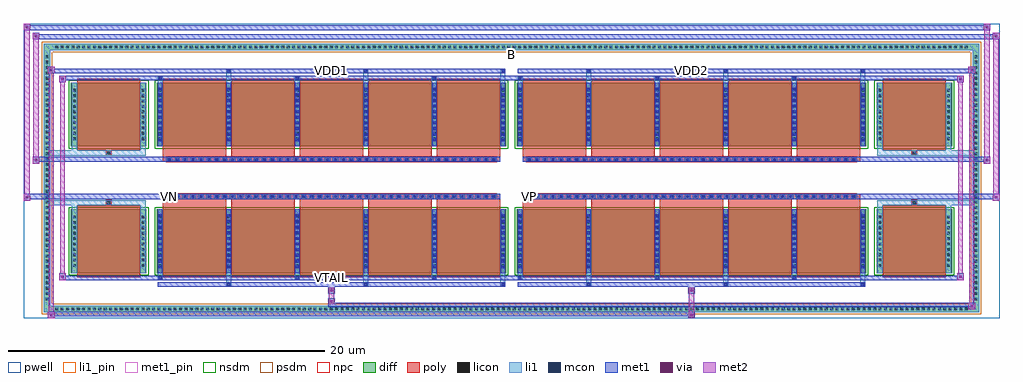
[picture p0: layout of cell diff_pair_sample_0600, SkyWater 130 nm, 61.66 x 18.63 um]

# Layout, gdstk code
import gdstk
lib = gdstk.Library(unit=1e-6, precision=5e-09)
def R(c, l, rs):  # rectangles x0, y0, x1, y1
    for r in rs: c.add(gdstk.rectangle(r[:2], r[2:], *l))
def A(c, l, x, y, w, h, nx, ny, dx, dy):  # array of equal rectangles
    R(c, l, [(x+i*dx, y+j*dy, x+i*dx+w, y+j*dy+h) for i in range(nx) for j in range(ny)])
def P(c, l, *ps):  # polygons
    for p in ps: c.add(gdstk.Polygon(p, *l))
pwell = (64, 44)
diff = (65, 20)
poly = (66, 20)
licon = (66, 44)
li1_pin = (67, 16)
li1 = (67, 20)
mcon = (67, 44)
met1_pin = (68, 16)
met1 = (68, 20)
via = (68, 44)
met2 = (69, 20)
nsdm = (93, 44)
psdm = (94, 20)
npc = (95, 20)

diff_pair_sample_0600 = lib.new_cell('diff_pair_sample_0600')
R(diff_pair_sample_0600, pwell, [(-30.83,-8.88,30.83,9.75), (-28.15,-7.07,-0.01,-0.805), (0.01,-7.07,28.15,-0.805), (-28.15,0.805,-0.01,7.07), (0.01,0.805,28.15,7.07)])
A(diff_pair_sample_0600, diff, -28.935, -8.48, 0.41, 0.41, 170, 2, 0.34, 16.55)
A(diff_pair_sample_0600, diff, -29.56, -7.855, 0.41, 0.41, 1, 46, 0, 0.34)
A(diff_pair_sample_0600, diff, 29.15, -7.855, 0.41, 0.41, 1, 46, 0, 0.34)
R(diff_pair_sample_0600, diff, [(-28.935,-8.48,28.935,-8.07), (-29.56,-7.855,-29.15,7.855), (29.15,-7.855,29.56,7.855), (-27.84,-6.025,-23.06,-1.985), (-22.42,-6.025,-0.32,-1.985), (0.32,-6.025,22.42,-1.985), (23.06,-6.025,27.84,-1.985), (-27.84,1.985,-23.06,6.025), (-22.42,1.985,-0.32,6.025), (0.32,1.985,22.42,6.025), (23.06,1.985,27.84,6.025), (-28.935,8.07,28.935,8.48)])
P(diff_pair_sample_0600, diff, [(29.56,8.48),(-29.56,8.48),(-29.56,-8.07),(-29.15,-8.07),(-29.15,8.07),(29.15,8.07),(29.15,-8.07),(-29.15,-8.07),(-29.56,-8.07),(-29.56,-8.48),(29.56,-8.48)])
A(diff_pair_sample_0600, poly, -22.03, -6.275, 4, 4.54, 5, 2, 4.33, 8.01)
A(diff_pair_sample_0600, poly, 0.71, -6.275, 4, 4.54, 5, 2, 4.33, 8.01)
A(diff_pair_sample_0600, poly, -22.03, -1.735, 4, 0.4, 5, 2, 4.33, 3.07)
A(diff_pair_sample_0600, poly, 0.71, -1.735, 4, 0.4, 5, 2, 4.33, 3.07)
A(diff_pair_sample_0600, poly, -21.785, -1.335, 0.33, 0.33, 42, 2, 0.5, 2.34)
A(diff_pair_sample_0600, poly, 0.955, -1.335, 0.33, 0.33, 42, 2, 0.5, 2.34)
R(diff_pair_sample_0600, poly, [(-27.45,-6.275,-23.45,-1.735), (23.45,-6.275,27.45,-1.735), (-25.615,-1.735,-25.285,-1.405), (-25.615,-1.735,-25.285,-1.405), (25.285,-1.735,25.615,-1.405), (25.285,-1.735,25.615,-1.405), (-22.03,-1.335,-0.71,-1.005), (0.71,-1.335,22.03,-1.005), (-22.03,1.005,-0.71,1.335), (0.71,1.005,22.03,1.335), (-25.615,1.405,-25.285,1.735), (-25.615,1.405,-25.285,1.735), (25.285,1.405,25.615,1.735), (25.285,1.405,25.615,1.735), (-27.45,1.735,-23.45,6.275), (23.45,1.735,27.45,6.275)])
A(diff_pair_sample_0600, licon, -28.815, -8.36, 0.17, 0.17, 170, 2, 0.34, 16.55)
A(diff_pair_sample_0600, licon, -29.44, -7.735, 0.17, 0.17, 1, 46, 0, 0.34)
A(diff_pair_sample_0600, licon, 29.27, -7.735, 0.17, 0.17, 1, 46, 0, 0.34)
A(diff_pair_sample_0600, licon, -27.7, -5.62, 0.17, 0.17, 1, 10, 0, 0.34)
A(diff_pair_sample_0600, licon, -23.37, -5.62, 0.17, 0.17, 1, 10, 0, 0.34)
A(diff_pair_sample_0600, licon, -22.28, -5.62, 0.17, 0.17, 6, 10, 4.33, 0.34)
A(diff_pair_sample_0600, licon, 0.46, -5.62, 0.17, 0.17, 6, 10, 4.33, 0.34)
A(diff_pair_sample_0600, licon, 23.2, -5.62, 0.17, 0.17, 1, 10, 0, 0.34)
A(diff_pair_sample_0600, licon, 27.53, -5.62, 0.17, 0.17, 1, 10, 0, 0.34)
A(diff_pair_sample_0600, licon, -21.705, -1.255, 0.17, 0.17, 42, 2, 0.5, 2.34)
A(diff_pair_sample_0600, licon, 1.035, -1.255, 0.17, 0.17, 42, 2, 0.5, 2.34)
A(diff_pair_sample_0600, licon, -27.7, 2.39, 0.17, 0.17, 1, 10, 0, 0.34)
A(diff_pair_sample_0600, licon, -23.37, 2.39, 0.17, 0.17, 1, 10, 0, 0.34)
A(diff_pair_sample_0600, licon, -22.28, 2.39, 0.17, 0.17, 6, 10, 4.33, 0.34)
A(diff_pair_sample_0600, licon, 0.46, 2.39, 0.17, 0.17, 6, 10, 4.33, 0.34)
A(diff_pair_sample_0600, licon, 23.2, 2.39, 0.17, 0.17, 1, 10, 0, 0.34)
A(diff_pair_sample_0600, licon, 27.53, 2.39, 0.17, 0.17, 1, 10, 0, 0.34)
R(diff_pair_sample_0600, licon, [(-25.535,-1.655,-25.365,-1.485), (25.365,-1.655,25.535,-1.485), (-25.535,1.485,-25.365,1.655), (25.365,1.485,25.535,1.655)])
R(diff_pair_sample_0600, li1_pin, [(-0.25,7.57,0.25,8.07)])
A(diff_pair_sample_0600, li1, -28.895, -8.44, 0.33, 0.33, 170, 2, 0.34, 16.55)
A(diff_pair_sample_0600, li1, -29.52, -7.815, 0.33, 0.33, 1, 46, 0, 0.34)
A(diff_pair_sample_0600, li1, 29.19, -7.815, 0.33, 0.33, 1, 46, 0, 0.34)
A(diff_pair_sample_0600, li1, -18.03, -6.83, 0.33, 0.805, 3, 2, 8.66, 12.855)
A(diff_pair_sample_0600, li1, -17.95, -6.83, 0.17, 0.17, 3, 2, 8.66, 13.49)
A(diff_pair_sample_0600, li1, 4.71, -6.83, 0.33, 0.805, 3, 2, 8.66, 12.855)
A(diff_pair_sample_0600, li1, 4.79, -6.83, 0.17, 0.17, 3, 2, 8.66, 13.49)
A(diff_pair_sample_0600, li1, -22.36, -6.4, 0.33, 0.375, 3, 2, 8.66, 12.425)
A(diff_pair_sample_0600, li1, -22.28, -6.4, 0.17, 0.17, 3, 2, 8.66, 12.63)
A(diff_pair_sample_0600, li1, 0.38, -6.4, 0.33, 0.375, 3, 2, 8.66, 12.425)
A(diff_pair_sample_0600, li1, 0.46, -6.4, 0.17, 0.17, 3, 2, 8.66, 12.63)
A(diff_pair_sample_0600, li1, -22.36, -6.025, 0.33, 4.04, 6, 2, 4.33, 8.01)
A(diff_pair_sample_0600, li1, 0.38, -6.025, 0.33, 4.04, 6, 2, 4.33, 8.01)
A(diff_pair_sample_0600, li1, -22.28, -5.71, 0.17, 0.17, 6, 10, 4.33, 0.36)
A(diff_pair_sample_0600, li1, -22.28, -5.71, 0.17, 3.41, 6, 2, 4.33, 8.01)
A(diff_pair_sample_0600, li1, 0.46, -5.71, 0.17, 0.17, 6, 10, 4.33, 0.36)
A(diff_pair_sample_0600, li1, 0.46, -5.71, 0.17, 3.41, 6, 2, 4.33, 8.01)
A(diff_pair_sample_0600, li1, -27.78, -5.7, 0.33, 0.33, 1, 10, 0, 0.34)
A(diff_pair_sample_0600, li1, -23.45, -5.7, 0.33, 0.33, 1, 10, 0, 0.34)
A(diff_pair_sample_0600, li1, -22.36, -5.7, 0.33, 0.33, 6, 10, 4.33, 0.34)
A(diff_pair_sample_0600, li1, 0.38, -5.7, 0.33, 0.33, 6, 10, 4.33, 0.34)
A(diff_pair_sample_0600, li1, 23.12, -5.7, 0.33, 0.33, 1, 10, 0, 0.34)
A(diff_pair_sample_0600, li1, 27.45, -5.7, 0.33, 0.33, 1, 10, 0, 0.34)
A(diff_pair_sample_0600, li1, -21.785, -1.335, 0.33, 0.33, 42, 2, 0.5, 2.34)
A(diff_pair_sample_0600, li1, 0.955, -1.335, 0.33, 0.33, 42, 2, 0.5, 2.34)
A(diff_pair_sample_0600, li1, -22.28, 2.3, 0.17, 0.17, 6, 10, 4.33, 0.36)
A(diff_pair_sample_0600, li1, 0.46, 2.3, 0.17, 0.17, 6, 10, 4.33, 0.36)
A(diff_pair_sample_0600, li1, -27.78, 2.31, 0.33, 0.33, 1, 10, 0, 0.34)
A(diff_pair_sample_0600, li1, -23.45, 2.31, 0.33, 0.33, 1, 10, 0, 0.34)
A(diff_pair_sample_0600, li1, -22.36, 2.31, 0.33, 0.33, 6, 10, 4.33, 0.34)
A(diff_pair_sample_0600, li1, 0.38, 2.31, 0.33, 0.33, 6, 10, 4.33, 0.34)
A(diff_pair_sample_0600, li1, 23.12, 2.31, 0.33, 0.33, 1, 10, 0, 0.34)
A(diff_pair_sample_0600, li1, 27.45, 2.31, 0.33, 0.33, 1, 10, 0, 0.34)
R(diff_pair_sample_0600, li1, [(-29.56,-8.48,-29.15,-8.07), (-29.56,-8.48,-29.15,-8.07), (-29.15,-8.48,29.15,-8.07), (29.15,-8.48,29.56,-8.07), (29.15,-8.48,29.56,-8.07), (-29.56,-8.07,-29.15,8.07), (29.15,-8.07,29.56,8.07), (-27.78,-6.025,-27.45,-1.985), (-23.45,-6.025,-23.12,-1.985), (23.12,-6.025,23.45,-1.985), (27.45,-6.025,27.78,-1.985), (-27.78,-1.985,-27.45,-1.405), (-23.45,-1.985,-23.12,-1.405), (23.12,-1.985,23.45,-1.405), (27.45,-1.985,27.78,-1.405), (-29.56,-1.735,-25.615,-1.405), (-27.78,-1.735,-25.615,-1.405), (-25.615,-1.735,-25.285,-1.405), (-25.285,-1.735,-23.12,-1.405), (23.12,-1.735,25.285,-1.405), (25.285,-1.735,25.615,-1.405), (25.285,-1.735,29.56,-1.405), (25.615,-1.735,27.78,-1.405), (-29.56,1.405,-25.615,1.735), (-27.78,1.405,-25.615,1.735), (-27.78,1.405,-27.45,1.985), (-25.615,1.405,-25.285,1.735), (-25.285,1.405,-23.12,1.735), (-23.45,1.405,-23.12,1.985), (23.12,1.405,25.285,1.735), (23.12,1.405,23.45,1.985), (25.285,1.405,25.615,1.735), (25.285,1.405,29.56,1.735), (25.615,1.405,27.78,1.735), (27.45,1.405,27.78,1.985), (-27.78,1.985,-27.45,6.025), (-23.45,1.985,-23.12,6.025), (23.12,1.985,23.45,6.025), (27.45,1.985,27.78,6.025), (-29.56,8.07,-29.15,8.48), (-29.56,8.07,-29.15,8.48), (-29.15,8.07,29.15,8.48), (29.15,8.07,29.56,8.48), (29.15,8.07,29.56,8.48)])
A(diff_pair_sample_0600, mcon, -17.95, -6.83, 0.17, 0.17, 3, 2, 8.66, 13.49)
A(diff_pair_sample_0600, mcon, 4.79, -6.83, 0.17, 0.17, 3, 2, 8.66, 13.49)
A(diff_pair_sample_0600, mcon, -22.28, -6.4, 0.17, 0.17, 3, 2, 8.66, 12.63)
A(diff_pair_sample_0600, mcon, 0.46, -6.4, 0.17, 0.17, 3, 2, 8.66, 12.63)
A(diff_pair_sample_0600, mcon, -22.28, -5.71, 0.17, 0.17, 6, 10, 4.33, 0.36)
A(diff_pair_sample_0600, mcon, 0.46, -5.71, 0.17, 0.17, 6, 10, 4.33, 0.36)
A(diff_pair_sample_0600, mcon, -21.705, -1.255, 0.17, 0.17, 42, 2, 0.5, 2.34)
A(diff_pair_sample_0600, mcon, 1.035, -1.255, 0.17, 0.17, 42, 2, 0.5, 2.34)
A(diff_pair_sample_0600, mcon, -22.28, 2.3, 0.17, 0.17, 6, 10, 4.33, 0.36)
A(diff_pair_sample_0600, mcon, 0.46, 2.3, 0.17, 0.17, 6, 10, 4.33, 0.36)
R(diff_pair_sample_0600, met1_pin, [(-11.505,-6.44,-11.235,-6.17), (-21.755,-1.295,-21.485,-1.025), (0.985,-1.295,1.255,-1.025), (-11.505,6.62,-11.235,6.89), (11.235,6.62,11.505,6.89)])
A(diff_pair_sample_0600, met1, -18.01, -6.89, 0.29, 0.29, 3, 2, 8.66, 13.49)
A(diff_pair_sample_0600, met1, 4.73, -6.89, 0.29, 0.29, 3, 2, 8.66, 13.49)
A(diff_pair_sample_0600, met1, -22.34, -6.46, 0.29, 0.29, 3, 2, 8.66, 12.63)
A(diff_pair_sample_0600, met1, 0.4, -6.46, 0.29, 0.29, 3, 2, 8.66, 12.63)
A(diff_pair_sample_0600, met1, -22.34, -6.025, 0.29, 4.04, 6, 2, 4.33, 8.01)
A(diff_pair_sample_0600, met1, 0.4, -6.025, 0.29, 4.04, 6, 2, 4.33, 8.01)
A(diff_pair_sample_0600, met1, -22.34, -5.77, 0.29, 0.29, 6, 10, 4.33, 0.36)
A(diff_pair_sample_0600, met1, 0.4, -5.77, 0.29, 0.29, 6, 10, 4.33, 0.36)
A(diff_pair_sample_0600, met1, -21.765, -1.315, 0.29, 0.29, 42, 2, 0.5, 2.34)
A(diff_pair_sample_0600, met1, 0.975, -1.315, 0.29, 0.29, 42, 2, 0.5, 2.34)
A(diff_pair_sample_0600, met1, -22.34, 2.24, 0.29, 0.29, 6, 10, 4.33, 0.36)
A(diff_pair_sample_0600, met1, 0.4, 2.24, 0.29, 0.29, 6, 10, 4.33, 0.36)
R(diff_pair_sample_0600, met1, [(-29.29,-8.88,-28.86,-8.45), (11.155,-8.88,11.585,-8.45), (-29.29,-8.74,11.585,-8.45), (28.86,-8.31,29.29,-7.88), (-11.585,-8.17,29.29,-7.88), (-11.585,-8.03,-11.155,-7.6), (-11.585,-7.32,-11.155,-6.89), (11.155,-7.32,11.585,-6.89), (-22.34,-6.89,-0.4,-6.6), (0.4,-6.89,22.34,-6.6), (-28.58,-6.46,-28.15,-6.03), (-28.58,-6.46,-22.34,-6.17), (-22.34,-6.46,-0.4,-6.17), (-0.4,-6.46,0.4,-6.17), (0.4,-6.46,22.34,-6.17), (22.34,-6.46,28.58,-6.17), (28.15,-6.46,28.58,-6.03), (-30.83,-1.435,-30.4,-1.005), (30.4,-1.435,30.83,-1.005), (-30.83,-1.335,-0.71,-1.005), (-22.03,-1.335,-0.71,-1.005), (0.71,-1.335,22.03,-1.005), (0.71,-1.335,30.83,-1.005), (-30.26,0.905,-29.83,1.335), (29.83,0.905,30.26,1.335), (-30.26,1.005,-22.03,1.335), (-22.03,1.005,-0.71,1.335), (0.71,1.005,22.03,1.335), (22.03,1.005,30.26,1.335), (-28.58,6.03,-28.15,6.46), (28.15,6.03,28.58,6.46), (-28.58,6.17,-22.34,6.46), (-22.34,6.17,-0.4,6.46), (-0.4,6.17,0.4,6.46), (0.4,6.17,22.34,6.46), (22.34,6.17,28.58,6.46), (-29.29,6.6,-28.86,7.03), (-29.29,6.6,-22.34,6.89), (-22.34,6.6,-0.4,6.89), (0.4,6.6,22.34,6.89), (22.34,6.6,29.29,6.89), (28.86,6.6,29.29,7.03), (-30.26,8.75,-29.83,9.18), (-30.26,8.75,-28.15,9.08), (-28.15,8.75,28.15,9.08), (28.15,8.75,30.83,9.08), (30.4,8.75,30.83,9.18), (-30.83,9.32,-30.4,9.75), (-30.83,9.32,-28.15,9.65), (-28.15,9.32,28.15,9.65), (28.15,9.32,30.26,9.65), (29.83,9.32,30.26,9.75)])
R(diff_pair_sample_0600, via, [(-29.15,-8.74,-29,-8.59), (11.295,-8.74,11.445,-8.59), (29,-8.17,29.15,-8.02), (-11.445,-7.89,-11.295,-7.74), (-11.445,-7.18,-11.295,-7.03), (11.295,-7.18,11.445,-7.03), (-28.44,-6.32,-28.29,-6.17), (28.29,-6.32,28.44,-6.17), (-30.69,-1.295,-30.54,-1.145), (30.54,-1.295,30.69,-1.145), (-30.12,1.045,-29.97,1.195), (29.97,1.045,30.12,1.195), (-28.44,6.17,-28.29,6.32), (28.29,6.17,28.44,6.32), (-29.15,6.74,-29,6.89), (29,6.74,29.15,6.89), (-30.12,8.89,-29.97,9.04), (30.54,8.89,30.69,9.04), (-30.69,9.46,-30.54,9.61), (29.97,9.46,30.12,9.61)])
R(diff_pair_sample_0600, met2, [(-29.29,-8.88,-28.86,-8.45), (-29.22,-8.88,-28.93,7.03), (-28.93,-8.88,-28.86,-8.45), (-29.24,-8.83,-28.91,-8.5), (11.205,-8.83,11.535,-8.5), (11.205,-8.5,11.535,-7.27), (28.86,-8.31,29.29,-7.88), (28.93,-8.31,29.22,7.03), (29.22,-8.31,29.29,-7.88), (28.91,-8.26,29.24,-7.93), (-11.535,-7.98,-11.205,-7.65), (-11.535,-7.65,-11.205,-7.27), (-11.535,-7.27,-11.205,-6.94), (11.205,-7.27,11.535,-6.94), (-28.58,-6.46,-28.15,-6.03), (-28.51,-6.46,-28.22,6.46), (-28.22,-6.46,-28.15,-6.03), (28.15,-6.46,28.58,-6.03), (28.22,-6.46,28.51,6.46), (28.51,-6.46,28.58,-6.03), (-28.53,-6.41,-28.2,-6.08), (28.2,-6.41,28.53,-6.08), (-30.83,-1.435,-30.4,-1.005), (-30.78,-1.435,-30.45,9.75), (-30.45,-1.435,-30.4,-1.005), (30.4,-1.435,30.83,-1.005), (30.45,-1.435,30.78,9.18), (30.78,-1.435,30.83,-1.005), (-30.78,-1.385,-30.45,-1.055), (30.45,-1.385,30.78,-1.055), (-30.26,0.905,-29.83,1.335), (-30.21,0.905,-29.88,9.18), (-29.88,0.905,-29.83,1.335), (29.83,0.905,30.26,1.335), (29.88,0.905,30.21,9.75), (30.21,0.905,30.26,1.335), (-30.21,0.955,-29.88,1.285), (29.88,0.955,30.21,1.285), (-28.58,6.03,-28.15,6.46), (-28.22,6.03,-28.15,6.46), (28.15,6.03,28.58,6.46), (28.51,6.03,28.58,6.46), (-28.53,6.08,-28.2,6.41), (28.2,6.08,28.53,6.41), (-29.29,6.6,-28.86,7.03), (-28.93,6.6,-28.86,7.03), (28.86,6.6,29.29,7.03), (29.22,6.6,29.29,7.03), (-29.24,6.65,-28.91,6.98), (28.91,6.65,29.24,6.98), (-30.26,8.75,-29.83,9.18), (-29.88,8.75,-29.83,9.18), (30.4,8.75,30.83,9.18), (30.78,8.75,30.83,9.18), (-30.21,8.8,-29.88,9.13), (30.45,8.8,30.78,9.13), (-30.83,9.32,-30.4,9.75), (-30.45,9.32,-30.4,9.75), (29.83,9.32,30.26,9.75), (30.21,9.32,30.26,9.75), (-30.78,9.37,-30.45,9.7), (29.88,9.37,30.21,9.7)])
R(diff_pair_sample_0600, nsdm, [(-27.97,-6.155,-22.93,-1.855), (-22.55,-6.155,-0.19,-1.855), (0.19,-6.155,22.55,-1.855), (22.93,-6.155,27.97,-1.855), (-27.97,1.855,-22.93,6.155), (-22.55,1.855,-0.19,6.155), (0.19,1.855,22.55,6.155), (22.93,1.855,27.97,6.155)])
P(diff_pair_sample_0600, psdm, [(29.69,8.61),(-29.69,8.61),(-29.69,-7.94),(-29.02,-7.94),(-29.02,7.94),(29.02,7.94),(29.02,-7.94),(-29.02,-7.94),(-29.69,-7.94),(-29.69,-8.61),(29.69,-8.61)])
A(diff_pair_sample_0600, npc, -21.805, -1.355, 0.37, 0.37, 42, 2, 0.5, 2.34)
A(diff_pair_sample_0600, npc, 0.935, -1.355, 0.37, 0.37, 42, 2, 0.5, 2.34)
R(diff_pair_sample_0600, npc, [(-25.635,-1.755,-25.265,-1.385), (25.265,-1.755,25.635,-1.385), (-21.805,-1.355,-20.935,-0.985), (-21.805,-1.355,-20.935,-0.985), (-21.305,-1.355,-20.435,-0.985), (-21.305,-1.355,-20.435,-0.985), (-20.805,-1.355,-19.935,-0.985), (-20.805,-1.355,-19.935,-0.985), (-20.305,-1.355,-19.435,-0.985), (-20.305,-1.355,-19.435,-0.985), (-19.805,-1.355,-18.935,-0.985), (-19.805,-1.355,-18.935,-0.985), (-19.305,-1.355,-18.435,-0.985), (-19.305,-1.355,-18.435,-0.985), (-18.805,-1.355,-17.935,-0.985), (-18.805,-1.355,-17.935,-0.985), (-18.305,-1.355,-17.435,-0.985), (-18.305,-1.355,-17.435,-0.985), (-17.805,-1.355,-16.935,-0.985), (-17.805,-1.355,-16.935,-0.985), (-17.305,-1.355,-16.435,-0.985), (-17.305,-1.355,-16.435,-0.985), (-16.805,-1.355,-15.935,-0.985), (-16.805,-1.355,-15.935,-0.985), (-16.305,-1.355,-15.435,-0.985), (-16.305,-1.355,-15.435,-0.985), (-15.805,-1.355,-14.935,-0.985), (-15.805,-1.355,-14.935,-0.985), (-15.305,-1.355,-14.435,-0.985), (-15.305,-1.355,-14.435,-0.985), (-14.805,-1.355,-13.935,-0.985), (-14.805,-1.355,-13.935,-0.985), (-14.305,-1.355,-13.435,-0.985), (-14.305,-1.355,-13.435,-0.985), (-13.805,-1.355,-12.935,-0.985), (-13.805,-1.355,-12.935,-0.985), (-13.305,-1.355,-12.435,-0.985), (-13.305,-1.355,-12.435,-0.985), (-12.805,-1.355,-11.935,-0.985), (-12.805,-1.355,-11.935,-0.985), (-12.305,-1.355,-11.435,-0.985), (-12.305,-1.355,-11.435,-0.985), (-11.805,-1.355,-10.935,-0.985), (-11.805,-1.355,-10.935,-0.985), (-11.305,-1.355,-10.435,-0.985), (-11.305,-1.355,-10.435,-0.985), (-10.805,-1.355,-9.935,-0.985), (-10.805,-1.355,-9.935,-0.985), (-10.305,-1.355,-9.435,-0.985), (-10.305,-1.355,-9.435,-0.985), (-9.805,-1.355,-8.935,-0.985), (-9.805,-1.355,-8.935,-0.985), (-9.305,-1.355,-8.435,-0.985), (-9.305,-1.355,-8.435,-0.985), (-8.805,-1.355,-7.935,-0.985), (-8.805,-1.355,-7.935,-0.985), (-8.305,-1.355,-7.435,-0.985), (-8.305,-1.355,-7.435,-0.985), (-7.805,-1.355,-6.935,-0.985), (-7.805,-1.355,-6.935,-0.985), (-7.305,-1.355,-6.435,-0.985), (-7.305,-1.355,-6.435,-0.985), (-6.805,-1.355,-5.935,-0.985), (-6.805,-1.355,-5.935,-0.985), (-6.305,-1.355,-5.435,-0.985), (-6.305,-1.355,-5.435,-0.985), (-5.805,-1.355,-4.935,-0.985), (-5.805,-1.355,-4.935,-0.985), (-5.305,-1.355,-4.435,-0.985), (-5.305,-1.355,-4.435,-0.985), (-4.805,-1.355,-3.935,-0.985), (-4.805,-1.355,-3.935,-0.985), (-4.305,-1.355,-3.435,-0.985), (-4.305,-1.355,-3.435,-0.985), (-3.805,-1.355,-2.935,-0.985), (-3.805,-1.355,-2.935,-0.985), (-3.305,-1.355,-2.435,-0.985), (-3.305,-1.355,-2.435,-0.985), (-2.805,-1.355,-1.935,-0.985), (-2.805,-1.355,-1.935,-0.985), (-2.305,-1.355,-1.435,-0.985), (-2.305,-1.355,-1.435,-0.985), (-1.805,-1.355,-0.935,-0.985), (-1.805,-1.355,-0.935,-0.985), (0.935,-1.355,1.805,-0.985), (0.935,-1.355,1.805,-0.985), (1.435,-1.355,2.305,-0.985), (1.435,-1.355,2.305,-0.985), (1.935,-1.355,2.805,-0.985), (1.935,-1.355,2.805,-0.985), (2.435,-1.355,3.305,-0.985), (2.435,-1.355,3.305,-0.985), (2.935,-1.355,3.805,-0.985), (2.935,-1.355,3.805,-0.985), (3.435,-1.355,4.305,-0.985), (3.435,-1.355,4.305,-0.985), (3.935,-1.355,4.805,-0.985), (3.935,-1.355,4.805,-0.985), (4.435,-1.355,5.305,-0.985), (4.435,-1.355,5.305,-0.985), (4.935,-1.355,5.805,-0.985), (4.935,-1.355,5.805,-0.985), (5.435,-1.355,6.305,-0.985), (5.435,-1.355,6.305,-0.985), (5.935,-1.355,6.805,-0.985), (5.935,-1.355,6.805,-0.985), (6.435,-1.355,7.305,-0.985), (6.435,-1.355,7.305,-0.985), (6.935,-1.355,7.805,-0.985), (6.935,-1.355,7.805,-0.985), (7.435,-1.355,8.305,-0.985), (7.435,-1.355,8.305,-0.985), (7.935,-1.355,8.805,-0.985), (7.935,-1.355,8.805,-0.985), (8.435,-1.355,9.305,-0.985), (8.435,-1.355,9.305,-0.985), (8.935,-1.355,9.805,-0.985), (8.935,-1.355,9.805,-0.985), (9.435,-1.355,10.305,-0.985), (9.435,-1.355,10.305,-0.985), (9.935,-1.355,10.805,-0.985), (9.935,-1.355,10.805,-0.985), (10.435,-1.355,11.305,-0.985), (10.435,-1.355,11.305,-0.985), (10.935,-1.355,11.805,-0.985), (10.935,-1.355,11.805,-0.985), (11.435,-1.355,12.305,-0.985), (11.435,-1.355,12.305,-0.985), (11.935,-1.355,12.805,-0.985), (11.935,-1.355,12.805,-0.985), (12.435,-1.355,13.305,-0.985), (12.435,-1.355,13.305,-0.985), (12.935,-1.355,13.805,-0.985), (12.935,-1.355,13.805,-0.985), (13.435,-1.355,14.305,-0.985), (13.435,-1.355,14.305,-0.985), (13.935,-1.355,14.805,-0.985), (13.935,-1.355,14.805,-0.985), (14.435,-1.355,15.305,-0.985), (14.435,-1.355,15.305,-0.985), (14.935,-1.355,15.805,-0.985), (14.935,-1.355,15.805,-0.985), (15.435,-1.355,16.305,-0.985), (15.435,-1.355,16.305,-0.985), (15.935,-1.355,16.805,-0.985), (15.935,-1.355,16.805,-0.985), (16.435,-1.355,17.305,-0.985), (16.435,-1.355,17.305,-0.985), (16.935,-1.355,17.805,-0.985), (16.935,-1.355,17.805,-0.985), (17.435,-1.355,18.305,-0.985), (17.435,-1.355,18.305,-0.985), (17.935,-1.355,18.805,-0.985), (17.935,-1.355,18.805,-0.985), (18.435,-1.355,19.305,-0.985), (18.435,-1.355,19.305,-0.985), (18.935,-1.355,19.805,-0.985), (18.935,-1.355,19.805,-0.985), (19.435,-1.355,20.305,-0.985), (19.435,-1.355,20.305,-0.985), (19.935,-1.355,20.805,-0.985), (19.935,-1.355,20.805,-0.985), (20.435,-1.355,21.305,-0.985), (20.435,-1.355,21.305,-0.985), (20.935,-1.355,21.805,-0.985), (20.935,-1.355,21.805,-0.985), (-21.805,0.985,-20.935,1.355), (-21.805,0.985,-20.935,1.355), (-21.305,0.985,-20.435,1.355), (-21.305,0.985,-20.435,1.355), (-20.805,0.985,-19.935,1.355), (-20.805,0.985,-19.935,1.355), (-20.305,0.985,-19.435,1.355), (-20.305,0.985,-19.435,1.355), (-19.805,0.985,-18.935,1.355), (-19.805,0.985,-18.935,1.355), (-19.305,0.985,-18.435,1.355), (-19.305,0.985,-18.435,1.355), (-18.805,0.985,-17.935,1.355), (-18.805,0.985,-17.935,1.355), (-18.305,0.985,-17.435,1.355), (-18.305,0.985,-17.435,1.355), (-17.805,0.985,-16.935,1.355), (-17.805,0.985,-16.935,1.355), (-17.305,0.985,-16.435,1.355), (-17.305,0.985,-16.435,1.355), (-16.805,0.985,-15.935,1.355), (-16.805,0.985,-15.935,1.355), (-16.305,0.985,-15.435,1.355), (-16.305,0.985,-15.435,1.355), (-15.805,0.985,-14.935,1.355), (-15.805,0.985,-14.935,1.355), (-15.305,0.985,-14.435,1.355), (-15.305,0.985,-14.435,1.355), (-14.805,0.985,-13.935,1.355), (-14.805,0.985,-13.935,1.355), (-14.305,0.985,-13.435,1.355), (-14.305,0.985,-13.435,1.355), (-13.805,0.985,-12.935,1.355), (-13.805,0.985,-12.935,1.355), (-13.305,0.985,-12.435,1.355), (-13.305,0.985,-12.435,1.355), (-12.805,0.985,-11.935,1.355), (-12.805,0.985,-11.935,1.355), (-12.305,0.985,-11.435,1.355), (-12.305,0.985,-11.435,1.355), (-11.805,0.985,-10.935,1.355), (-11.805,0.985,-10.935,1.355), (-11.305,0.985,-10.435,1.355), (-11.305,0.985,-10.435,1.355), (-10.805,0.985,-9.935,1.355), (-10.805,0.985,-9.935,1.355), (-10.305,0.985,-9.435,1.355), (-10.305,0.985,-9.435,1.355), (-9.805,0.985,-8.935,1.355), (-9.805,0.985,-8.935,1.355), (-9.305,0.985,-8.435,1.355), (-9.305,0.985,-8.435,1.355), (-8.805,0.985,-7.935,1.355), (-8.805,0.985,-7.935,1.355), (-8.305,0.985,-7.435,1.355), (-8.305,0.985,-7.435,1.355), (-7.805,0.985,-6.935,1.355), (-7.805,0.985,-6.935,1.355), (-7.305,0.985,-6.435,1.355), (-7.305,0.985,-6.435,1.355), (-6.805,0.985,-5.935,1.355), (-6.805,0.985,-5.935,1.355), (-6.305,0.985,-5.435,1.355), (-6.305,0.985,-5.435,1.355), (-5.805,0.985,-4.935,1.355), (-5.805,0.985,-4.935,1.355), (-5.305,0.985,-4.435,1.355), (-5.305,0.985,-4.435,1.355), (-4.805,0.985,-3.935,1.355), (-4.805,0.985,-3.935,1.355), (-4.305,0.985,-3.435,1.355), (-4.305,0.985,-3.435,1.355), (-3.805,0.985,-2.935,1.355), (-3.805,0.985,-2.935,1.355), (-3.305,0.985,-2.435,1.355), (-3.305,0.985,-2.435,1.355), (-2.805,0.985,-1.935,1.355), (-2.805,0.985,-1.935,1.355), (-2.305,0.985,-1.435,1.355), (-2.305,0.985,-1.435,1.355), (-1.805,0.985,-0.935,1.355), (-1.805,0.985,-0.935,1.355), (0.935,0.985,1.805,1.355), (0.935,0.985,1.805,1.355), (1.435,0.985,2.305,1.355), (1.435,0.985,2.305,1.355), (1.935,0.985,2.805,1.355), (1.935,0.985,2.805,1.355), (2.435,0.985,3.305,1.355), (2.435,0.985,3.305,1.355), (2.935,0.985,3.805,1.355), (2.935,0.985,3.805,1.355), (3.435,0.985,4.305,1.355), (3.435,0.985,4.305,1.355), (3.935,0.985,4.805,1.355), (3.935,0.985,4.805,1.355), (4.435,0.985,5.305,1.355), (4.435,0.985,5.305,1.355), (4.935,0.985,5.805,1.355), (4.935,0.985,5.805,1.355), (5.435,0.985,6.305,1.355), (5.435,0.985,6.305,1.355), (5.935,0.985,6.805,1.355), (5.935,0.985,6.805,1.355), (6.435,0.985,7.305,1.355), (6.435,0.985,7.305,1.355), (6.935,0.985,7.805,1.355), (6.935,0.985,7.805,1.355), (7.435,0.985,8.305,1.355), (7.435,0.985,8.305,1.355), (7.935,0.985,8.805,1.355), (7.935,0.985,8.805,1.355), (8.435,0.985,9.305,1.355), (8.435,0.985,9.305,1.355), (8.935,0.985,9.805,1.355), (8.935,0.985,9.805,1.355), (9.435,0.985,10.305,1.355), (9.435,0.985,10.305,1.355), (9.935,0.985,10.805,1.355), (9.935,0.985,10.805,1.355), (10.435,0.985,11.305,1.355), (10.435,0.985,11.305,1.355), (10.935,0.985,11.805,1.355), (10.935,0.985,11.805,1.355), (11.435,0.985,12.305,1.355), (11.435,0.985,12.305,1.355), (11.935,0.985,12.805,1.355), (11.935,0.985,12.805,1.355), (12.435,0.985,13.305,1.355), (12.435,0.985,13.305,1.355), (12.935,0.985,13.805,1.355), (12.935,0.985,13.805,1.355), (13.435,0.985,14.305,1.355), (13.435,0.985,14.305,1.355), (13.935,0.985,14.805,1.355), (13.935,0.985,14.805,1.355), (14.435,0.985,15.305,1.355), (14.435,0.985,15.305,1.355), (14.935,0.985,15.805,1.355), (14.935,0.985,15.805,1.355), (15.435,0.985,16.305,1.355), (15.435,0.985,16.305,1.355), (15.935,0.985,16.805,1.355), (15.935,0.985,16.805,1.355), (16.435,0.985,17.305,1.355), (16.435,0.985,17.305,1.355), (16.935,0.985,17.805,1.355), (16.935,0.985,17.805,1.355), (17.435,0.985,18.305,1.355), (17.435,0.985,18.305,1.355), (17.935,0.985,18.805,1.355), (17.935,0.985,18.805,1.355), (18.435,0.985,19.305,1.355), (18.435,0.985,19.305,1.355), (18.935,0.985,19.805,1.355), (18.935,0.985,19.805,1.355), (19.435,0.985,20.305,1.355), (19.435,0.985,20.305,1.355), (19.935,0.985,20.805,1.355), (19.935,0.985,20.805,1.355), (20.435,0.985,21.305,1.355), (20.435,0.985,21.305,1.355), (20.935,0.985,21.805,1.355), (20.935,0.985,21.805,1.355), (-25.635,1.385,-25.265,1.755), (25.265,1.385,25.635,1.755)])
diff_pair_sample_0600.add(gdstk.Label('VTAIL', (-11.37,-6.305), layer=68, texttype=5))
diff_pair_sample_0600.add(gdstk.Label('VN', (-21.62,-1.16), layer=68, texttype=5))
diff_pair_sample_0600.add(gdstk.Label('VP', (1.12,-1.16), layer=68, texttype=5))
diff_pair_sample_0600.add(gdstk.Label('B', (0,7.82), layer=67, texttype=5))
diff_pair_sample_0600.add(gdstk.Label('VDD2', (11.37,6.755), layer=68, texttype=5))
diff_pair_sample_0600.add(gdstk.Label('VDD1', (-11.37,6.755), layer=68, texttype=5))

lib.write_gds('diff_pair_sample_0600.gds')
